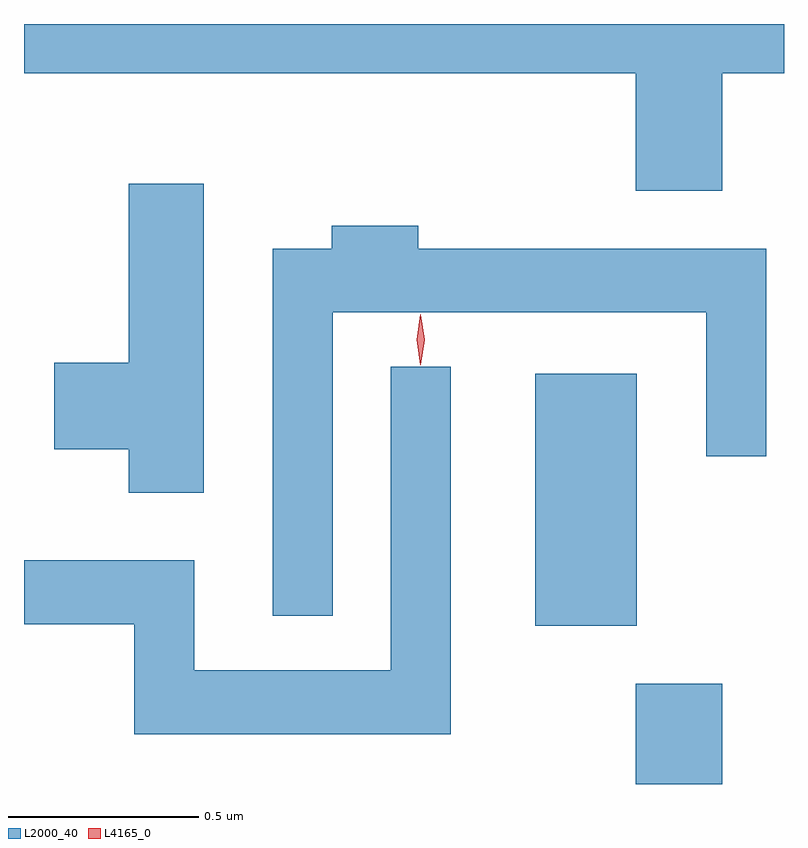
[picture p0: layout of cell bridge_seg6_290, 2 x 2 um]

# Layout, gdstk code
import gdstk
lib = gdstk.Library(unit=1e-6, precision=1e-09)
def R(c, l, rs):  # rectangles x0, y0, x1, y1
    for r in rs: c.add(gdstk.rectangle(r[:2], r[2:], *l))
def P(c, l, *ps):  # polygons
    for p in ps: c.add(gdstk.Polygon(p, *l))
L2000_40 = (2000, 40)
L4165_0 = (4165, 0)

bridge_seg6_290 = lib.new_cell('bridge_seg6_290')
R(bridge_seg6_290, L2000_40, [(1324.041,1559.265,1324.269,1559.529), (1323.776,1559.681,1324.044,1560.344)])
P(bridge_seg6_290, L2000_40, [(1324.269,1561.136),(1324.431,1561.136),(1324.431,1561.265),(1322.431,1561.265),(1322.431,1561.136),(1324.041,1561.136),(1324.041,1560.826),(1324.269,1560.826)],
  [(1322.904,1560.844),(1322.706,1560.844),(1322.706,1560.374),(1322.511,1560.374),(1322.511,1560.146),(1322.706,1560.146),(1322.706,1560.031),(1322.904,1560.031)],
  [(1323.244,1560.506),(1324.226,1560.506),(1324.226,1560.128),(1324.384,1560.128),(1324.384,1560.674),(1323.469,1560.674),(1323.469,1560.734),(1323.241,1560.734),(1323.241,1560.674),(1323.086,1560.674),(1323.086,1559.708),(1323.244,1559.708)],
  [(1323.554,1560.363),(1323.396,1560.363),(1323.396,1559.564),(1322.879,1559.564),(1322.879,1559.854),(1322.431,1559.854),(1322.431,1559.686),(1322.721,1559.686),(1322.721,1559.396),(1323.554,1559.396)])
P(bridge_seg6_290, L4165_0, [(1323.475,1560.367),(1323.474,1560.368),(1323.465,1560.434),(1323.474,1560.5),(1323.475,1560.501),(1323.475,1560.5),(1323.485,1560.434),(1323.475,1560.368)])

lib.write_gds('bridge_seg6_290.gds')
